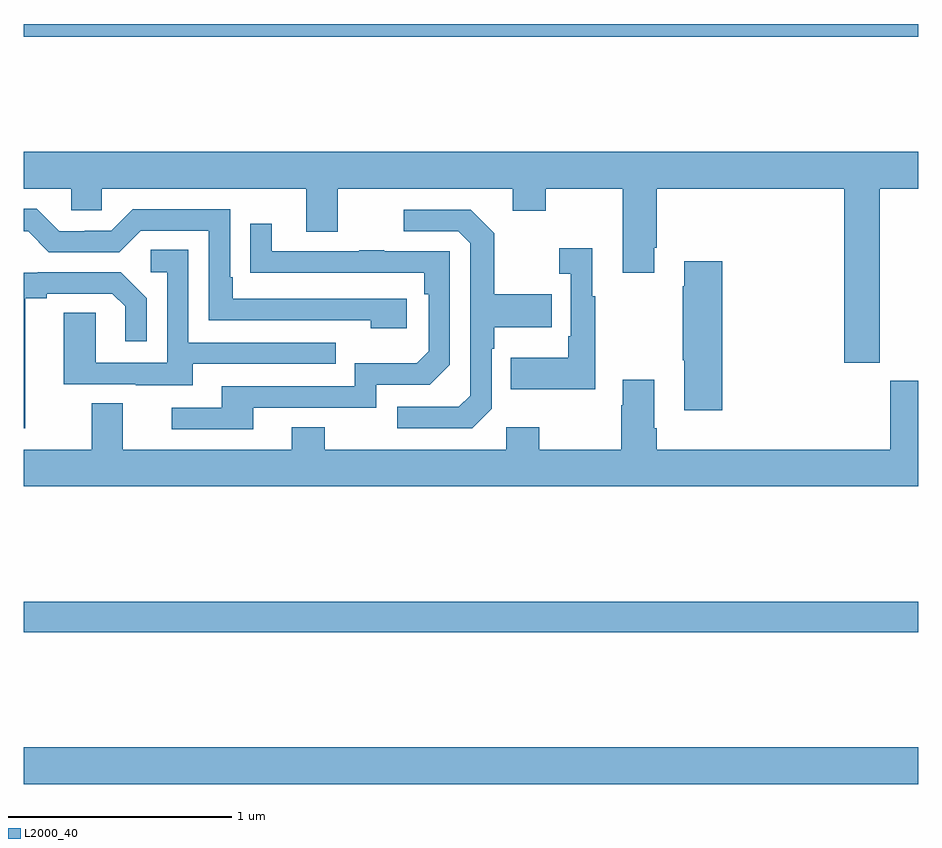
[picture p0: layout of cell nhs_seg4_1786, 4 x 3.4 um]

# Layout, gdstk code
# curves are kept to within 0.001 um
import gdstk
lib = gdstk.Library(unit=1e-6, precision=1e-09)
def R(c, l, rs):  # rectangles x0, y0, x1, y1
    for r in rs: c.add(gdstk.rectangle(r[:2], r[2:], *l))
def P(c, l, *ps):  # polygons
    for p in ps: c.add(gdstk.Polygon(p, *l))
L2000_40 = (2000, 40)

nhs_seg4_1786 = lib.new_cell('nhs_seg4_1786')
R(nhs_seg4_1786, L2000_40, [(203,783.5,207,783.664), (203,784.18,207,784.316), (203,786.844,207,786.9)])
P(nhs_seg4_1786, L2000_40, [(206.829,786.164),(207,786.164),(207,786.328),(203,786.328),(203,786.164),(203.211,786.164),(203.211,786.066),(203.349,786.066),(203.349,786.164),(204.263,786.164),(204.263,785.97),(204.403,785.97),(204.403,786.164),(205.187,786.164),(205.187,786.065),(205.335,786.065),(205.335,786.164),(205.679,786.164),(205.679,785.787),(205.819,785.787),(205.819,785.899),(205.832,785.899),(205.832,786.164),(206.669,786.164),(206.669,785.385),(206.829,785.385)],
  [(204.712,785.67),(203.935,785.67),(203.935,785.767),(203.922,785.767),(203.922,786.072),(203.487,786.072),(203.391,785.976),(203.273,785.976),(203.273,785.973),(203.157,785.973),(203.057,786.073),(203,786.073),(203,785.973),(203.019,785.973),(203.112,785.88),(203.427,785.88),(203.523,785.976),(203.826,785.976),(203.826,785.574),(204.551,785.574),(204.551,785.54),(204.712,785.54)],
  [(205.092,785.178),(205.092,785.447),(205.105,785.447),(205.105,785.543),(205.361,785.543),(205.361,785.691),(205.105,785.691),(205.105,785.963),(204.999,786.069),(204.699,786.069),(204.699,785.973),(204.942,785.973),(204.996,785.919),(204.996,785.238),(204.945,785.187),(204.669,785.187),(204.669,785.091),(205.005,785.091)],
  [(204.025,785.184),(204.576,785.184),(204.576,785.286),(204.816,785.286),(204.906,785.376),(204.906,785.883),(204.611,785.883),(204.611,785.888),(204.499,785.888),(204.499,785.883),(204.109,785.883),(204.109,786.007),(204.013,786.007),(204.013,785.788),(204.79,785.787),(204.79,785.69),(204.81,785.69),(204.81,785.436),(204.757,785.383),(204.48,785.383),(204.48,785.28),(203.885,785.28),(203.885,785.184),(203.661,785.184),(203.661,785.088),(204.025,785.088)],
  [(205.555,785.683),(205.543,785.683),(205.543,785.896),(205.395,785.896),(205.395,785.783),(205.446,785.783),(205.446,785.503),(205.434,785.503),(205.434,785.407),(205.177,785.407),(205.177,785.267),(205.555,785.267)],
  [(203.755,785.379),(204.395,785.379),(204.395,785.475),(203.736,785.475),(203.736,785.891),(203.568,785.891),(203.568,785.79),(203.64,785.79),(203.64,785.385),(203.322,785.385),(203.322,785.609),(203.177,785.609),(203.177,785.289),(203.501,785.289),(203.501,785.285),(203.755,785.285)],
  [(206.123,785.839),(205.955,785.839),(205.955,785.726),(205.948,785.726),(205.948,785.395),(205.955,785.395),(205.955,785.172),(206.123,785.172)],
  [(203.005,785.672),(203.101,785.672),(203.101,785.694),(203.396,785.694),(203.453,785.637),(203.453,785.481),(203.55,785.481),(203.55,785.674),(203.434,785.79),(203.062,785.79),(203.062,785.787),(203,785.787),(203,785.091),(203.005,785.091)],
  [(207,785.305),(206.876,785.305),(206.876,784.996),(205.832,784.996),(205.832,785.092),(205.819,785.092),(205.819,785.308),(205.679,785.308),(205.679,785.195),(205.672,785.195),(205.672,784.996),(205.305,784.996),(205.305,785.095),(205.158,785.095),(205.158,784.996),(204.345,784.996),(204.345,785.095),(204.197,785.095),(204.197,784.996),(203.443,784.996),(203.443,785.204),(203.303,785.204),(203.303,784.996),(203,784.996),(203,784.832),(207,784.832)])

lib.write_gds('nhs_seg4_1786.gds')
